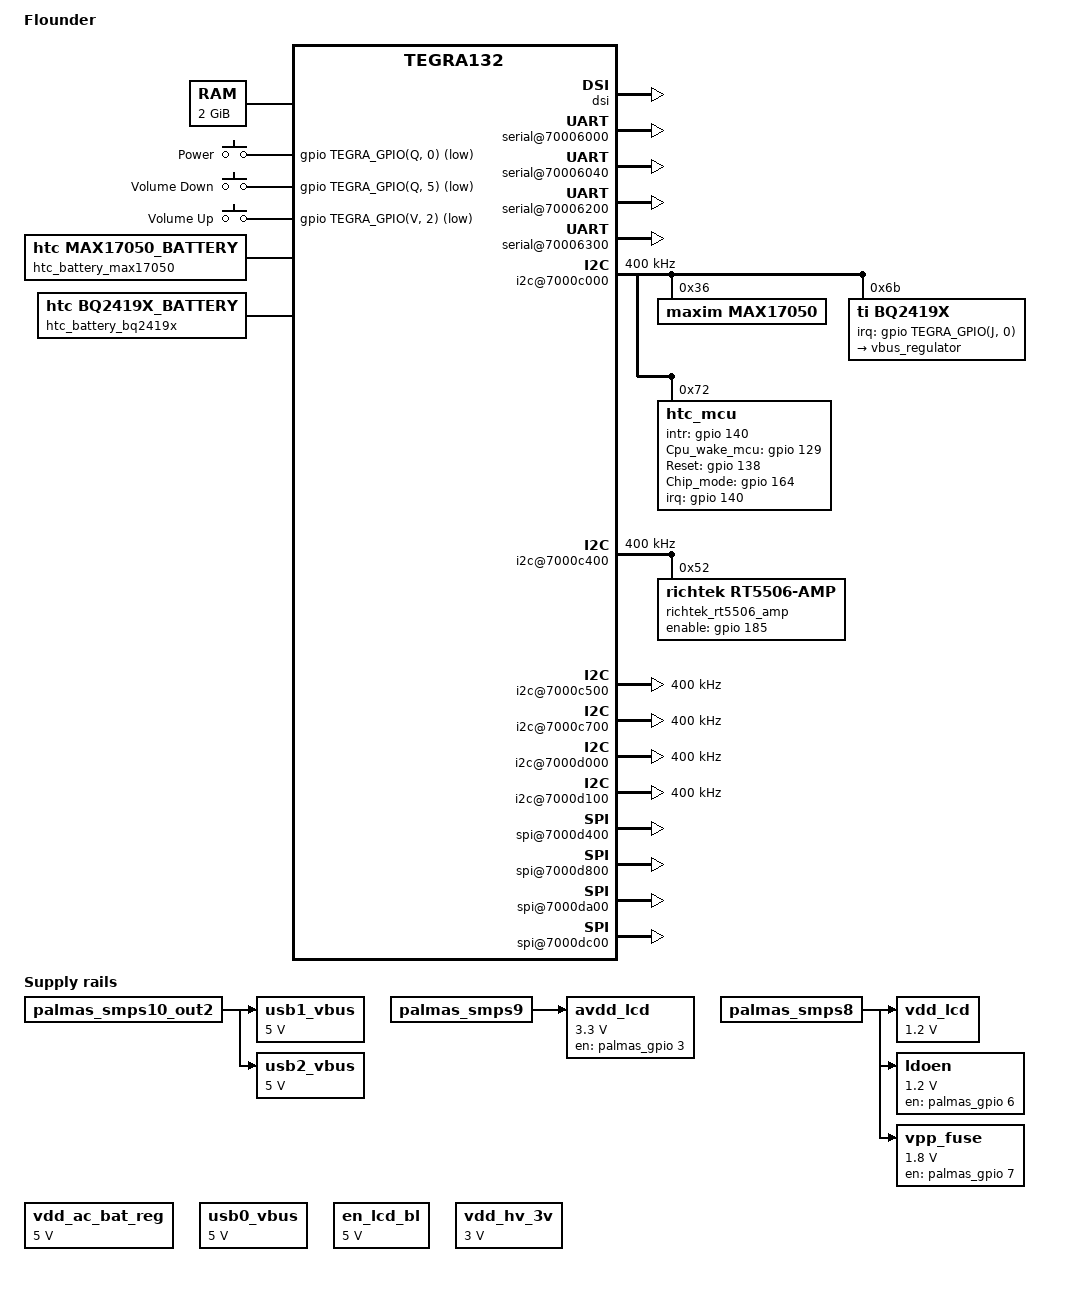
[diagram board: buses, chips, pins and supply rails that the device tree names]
#include <dt-bindings/gpio/tegra-gpio.h>
#include <dt-bindings/input/input.h>
#include <dt-bindings/interrupt-controller/arm-gic.h>

#include "tegra132.dtsi"
#include "tegra132-flounder-camera.dtsi"
#include "tegra132-flounder-trusty.dtsi"
#include "tegra132-flounder-sysedp.dtsi"
#include "tegra132-flounder-powermon.dtsi"
#include "tegra132-flounder-emc.dtsi"
#include "tegra132-tn8-dfll.dtsi"
#include "tegra132-flounder-touch.dtsi"

/ {
	model = "Flounder";

	nvidia-boardids = "1780:1100:2:B:7","1794:1000:0:A:6";
	#address-cells = <2>;
	#size-cells = <2>;

	chosen {
		bootargs = "tegraid=40.0.0.00.00 vmalloc=256M video=tegrafb console=ttyS0,115200n8 earlyprintk";
		linux,initrd-start = <0x85000000>;
		linux,initrd-end = <0x851bc400>;
	};

	pinmux {
		status = "disable";
	};

	gpio: gpio@6000d000 {
		gpio-init-names = "default";
		gpio-init-0 = <&gpio_default>;

		gpio_default: default {
			gpio-input = <  TEGRA_GPIO(C, 7)
					TEGRA_GPIO(A, 7)
					TEGRA_GPIO(G, 2)
					TEGRA_GPIO(G, 3)
					TEGRA_GPIO(I, 5)
					TEGRA_GPIO(I, 6)
					TEGRA_GPIO(J, 0)
					TEGRA_GPIO(K, 2)
					TEGRA_GPIO(K, 3)
					TEGRA_GPIO(N, 4)
					TEGRA_GPIO(O, 2)
					TEGRA_GPIO(O, 3)
					TEGRA_GPIO(O, 5)
					TEGRA_GPIO(O, 7)
					TEGRA_GPIO(Q, 1)
					TEGRA_GPIO(Q, 6)
					TEGRA_GPIO(Q, 7)
					TEGRA_GPIO(R, 4)
					TEGRA_GPIO(S, 0)
					TEGRA_GPIO(S, 1)
					TEGRA_GPIO(S, 4)
					TEGRA_GPIO(U, 5)
					TEGRA_GPIO(U, 6)
					TEGRA_GPIO(V, 0)
					TEGRA_GPIO(V, 1)
					TEGRA_GPIO(W, 2)
/*key*/
					TEGRA_GPIO(Q, 0)
					TEGRA_GPIO(Q, 5)
					TEGRA_GPIO(V, 2)
/*key*/
/*headset*/
					TEGRA_GPIO(S, 2)
					TEGRA_GPIO(W, 3)
/*headset*/
					TEGRA_GPIO(BB, 6)
					TEGRA_GPIO(CC, 1)
					TEGRA_GPIO(CC, 2)>;
			gpio-output-low = <TEGRA_GPIO(H, 2)
					TEGRA_GPIO(H, 3)
					TEGRA_GPIO(H, 6)
					TEGRA_GPIO(H, 7)
					TEGRA_GPIO(I, 0)
/*headset*/
					TEGRA_GPIO(J, 7)
					TEGRA_GPIO(S, 3)
/*headset*/
					TEGRA_GPIO(K, 0)
					TEGRA_GPIO(K, 1)
					TEGRA_GPIO(K, 5)
					TEGRA_GPIO(O, 0)
					TEGRA_GPIO(O, 6)
					TEGRA_GPIO(Q, 3)
					TEGRA_GPIO(R, 1)
					TEGRA_GPIO(R, 2)
					TEGRA_GPIO(R, 5)
					TEGRA_GPIO(S, 3)
					TEGRA_GPIO(S, 6)
					TEGRA_GPIO(U, 3)
					TEGRA_GPIO(V, 3)
					TEGRA_GPIO(X, 1)
					TEGRA_GPIO(X, 3)
					TEGRA_GPIO(X, 4)
					TEGRA_GPIO(X, 5)
					TEGRA_GPIO(X, 7)
					TEGRA_GPIO(BB, 3)
					TEGRA_GPIO(BB, 5)
					TEGRA_GPIO(BB, 7)
					TEGRA_GPIO(EE, 1)>;
			gpio-output-high = <TEGRA_GPIO(B, 4)
/*key*/
					TEGRA_GPIO(I, 3)
/*key*/
					TEGRA_GPIO(S, 5)
					TEGRA_GPIO(R, 0)
					TEGRA_GPIO(H, 5)
					TEGRA_GPIO(Q, 2)
/*headset*/
					TEGRA_GPIO(Q, 4)
/*headset*/
					>;
		};
	};

        host1x {
                dsi {
                        nvidia,dsi-controller-vs = <1>;
                        status = "okay";
                };

		hdmi {
			status = "disabled";
		};
	};

	serial@70006000 {
		compatible = "nvidia,tegra114-hsuart";
		status = "okay";
	};

	serial@70006040 {
		compatible = "nvidia,tegra114-hsuart";
		status = "okay";
	};

	serial@70006200 {
		compatible = "nvidia,tegra114-hsuart";
		status = "okay";
	};

	serial@70006300 {
		compatible = "nvidia,tegra114-hsuart";
		status = "okay";
	};

	memory@0x80000000 {
		device_type = "memory";
		reg = <0x0 0x80000000 0x0 0x80000000>;
	};

	i2c@7000c000 {
		status = "okay";
		clock-frequency = <400000>;

		max17050@36 {
			compatible = "maxim,max17050";
			reg = <0x36>;
			battery-id-channel-name = "batt-id-channel";
			param_adjust_map_by_id {
				id0 {
					id-number = <0>;
					id-range = <0 524>;
					temperature-normal-to-low-threshold = <(-50)>;
					temperature-low-to-normal-threshold = <(-30)>;
					temperature-normal-parameters = <0x964C 0x0068 0x0000>;
					temperature-low-parameters = <0xAF59 0x4D84 0x2484>;
				};
				id1 {
					id-number = <1>;
					id-range = <525 1343>;
					temperature-normal-to-low-threshold = <(-80)>;
					temperature-low-to-normal-threshold = <(-50)>;
					temperature-normal-parameters = <0x964C 0x1032 0x0000>;
					temperature-low-parameters = <0xAF59 0x5F86 0x2790>;
				};
			};
		};

		bq2419x: bq2419x@6b {
			compatible = "ti,bq2419x";
			reg = <0x6b>;

			interrupt-parent = <&gpio>;
			interrupts = <TEGRA_GPIO(J, 0) 0x0>;

			vbus {
				regulator-name = "vbus_regulator";
				consumers {
					c1 {
						regulator-consumer-supply = "usb_vbus";
						regulator-consumer-device = "tegra-ehci.0";
					};

					c2 {
						regulator-consumer-supply = "usb_vbus";
						regulator-consumer-device = "tegra-otg";
					};
				};
			};
		};

		htc_mcu@72 {
			compatible = "htc_mcu";
			reg = <0x72>;
			interrupt-parent = <&gpio>;
			interrupts = <140 0x0>;
			mcu,intr-gpio  = <&gpio 140 0>;
			mcu,gs_chip_layout = <1>;
			mcu,acceleration_axes = <7>;
			mcu,magnetic_axes = <7>;
			mcu,gyro_axes = <7>;
			mcu,Cpu_wake_mcu-gpio = <&gpio 129 0>;
			mcu,Reset-gpio = <&gpio 138 0>;
			mcu,Chip_mode-gpio = <&gpio 164 0>;
		};
	};

	i2c@7000c400 {
		status = "okay";
		clock-frequency = <400000>;

		richtek_rt5506_amp@52 {
			compatible = "richtek,rt5506-amp";
			reg = <0x52>;
			richtek,enable-gpio = <&gpio 185 0>;
		};
	};

	i2c@7000c500 {
		status = "okay";
		clock-frequency = <400000>;
	};

	i2c@7000c700 {
		status = "okay";
		clock-frequency = <400000>;
	};

	i2c@7000d000 {
		status = "okay";
		clock-frequency = <400000>;
		nvidia,bit-banging-xfer-after-shutdown;

	/include/ "tegra124-flounder-power.dtsi"
	};

	i2c@7000d100 {
		status = "okay";
		clock-frequency = <400000>;
	};

	spi@7000d400 {
		status = "okay";
		spi-max-frequency = <25000000>;
	};

	spi@7000d800 {
		status = "okay";
		spi-max-frequency = <25000000>;
	};

	spi@7000da00 {
		status = "okay";
		spi-max-frequency = <25000000>;
	};

	spi@7000dc00 {
		status = "okay";
		spi-max-frequency = <25000000>;
	};

	denver_cpuidle_pmic {
		type = <4>; /* TPS 65913 2.3*/
		retention-voltage = <11>;  /* Vret = 0.55v */
		lock = <0>;
	};

	gpio-keys {
		compatible = "gpio-keys";

		power {
			label = "Power";
			gpios = <&gpio TEGRA_GPIO(Q, 0) GPIO_ACTIVE_LOW>;
			linux,code = <KEY_POWER>;
			gpio-key,wakeup;
			debounce-interval = <20>;
		};

		volume_down {
			label = "Volume Down";
			gpios = <&gpio TEGRA_GPIO(Q, 5) GPIO_ACTIVE_LOW>;
			linux,code = <KEY_VOLUMEDOWN>;
			debounce-interval = <20>;
		};

		volume_up {
			label = "Volume Up";
			gpios = <&gpio TEGRA_GPIO(V, 2) GPIO_ACTIVE_LOW>;
			linux,code = <KEY_VOLUMEUP>;
			debounce-interval = <20>;
		};
	};

	regulators {
		compatible = "simple-bus";
		#address-cells = <1>;
		#size-cells = <0>;

		vdd_ac_bat_reg: regulator@0 {
			compatible = "regulator-fixed";
			reg = <0>;
			regulator-name = "vdd_ac_bat";
			regulator-min-microvolt = <5000000>;
			regulator-max-microvolt = <5000000>;
			regulator-always-on;

			consumers {
				c1 {
					regulator-consumer-supply = "vdd_sys_bl";
				};
			};
		};

		usb0_vbus: regulator@1 {
			compatible = "regulator-fixed-sync";
			reg = <1>;
			regulator-name = "usb0-vbus";
			regulator-min-microvolt = <5000000>;
			regulator-max-microvolt = <5000000>;
			enable-active-high;

			consumers {
				c1 {
					regulator-consumer-supply = "usb_vbus0";
					regulator-consumer-device = "tegra-xhci";
				};
			};
		};

		usb1_vbus: regulator@2 {
			compatible = "regulator-fixed-sync";
			reg = <2>;
			regulator-name = "usb1-vbus";
			regulator-min-microvolt = <5000000>;
			regulator-max-microvolt = <5000000>;
			enable-active-high;
			vin-supply = <&palmas_smps10_out2>;

			consumers {
				c1 {
					regulator-consumer-supply = "usb_vbus";
					regulator-consumer-device = "tegra-ehci.1";
				};
				c2 {
					regulator-consumer-supply = "usb_vbus1";
					regulator-consumer-device = "tegra-xhci";
				};
			};
		};

		usb2_vbus: regulator@3 {
			compatible = "regulator-fixed-sync";
			reg = <3>;
			regulator-name = "usb2-vbus";
			regulator-min-microvolt = <5000000>;
			regulator-max-microvolt = <5000000>;
			enable-active-high;
			vin-supply = <&palmas_smps10_out2>;

			consumers {
				c1 {
					regulator-consumer-supply = "usb_vbus";
					regulator-consumer-device = "tegra-ehci.2";
				};
				c2 {
					regulator-consumer-supply = "usb_vbus2";
					regulator-consumer-device = "tegra-xhci";
				};
			};
		};

		avdd_lcd: regulator@4 {
			compatible = "regulator-fixed-sync";
			reg = <4>;
			regulator-name = "avdd-lcd";
			regulator-min-microvolt = <3300000>;
			regulator-max-microvolt = <3300000>;
			gpio = <&palmas_gpio 3 0>;
			enable-active-high;
			vin-supply = <&palmas_smps9>;

			consumers {
				c1 {
					regulator-consumer-supply = "avdd_lcd";
				};
			};
		};

		vdd_lcd: regulator@5 {
			compatible = "regulator-fixed-sync";
			reg = <5>;
			regulator-name = "vdd-lcd";
			regulator-min-microvolt = <1200000>;
			regulator-max-microvolt = <1200000>;
			enable-active-high;
			vin-supply = <&palmas_smps8>;

			consumers {
				c1 {
					regulator-consumer-supply = "vdd_lcd_1v2_s";
				};
			};
		};

		ldoen: regulator@6 {
			compatible = "regulator-fixed-sync";
			reg = <6>;
			regulator-name = "ldoen";
			regulator-min-microvolt = <1200000>;
			regulator-max-microvolt = <1200000>;
			regulator-boot-on;
			enable-active-high;
			gpio = <&palmas_gpio 6 0>;
			vin-supply = <&palmas_smps8>;

			consumers {
				c1 {
					regulator-consumer-supply = "ldoen";
					regulator-consumer-device = "1-0052";
				};
			};
		};

		vpp_fuse: regulator@7 {
			compatible = "regulator-fixed-sync";
			reg = <7>;
			regulator-name = "vpp-fuse";
			regulator-min-microvolt = <1800000>;
			regulator-max-microvolt = <1800000>;
			enable-active-high;
			gpio = <&palmas_gpio 7 0>;
			vin-supply = <&palmas_smps8>;

			consumers {
				c1 {
					regulator-consumer-supply = "vpp_fuse";
				};
			};
		};

		en_lcd_bl: regulator@8 {
			compatible = "regulator-fixed-sync";
			reg = <8>;
			regulator-name = "en-lcd-bl";
			regulator-min-microvolt = <5000000>;
			regulator-max-microvolt = <5000000>;
			enable-active-high;

			consumers {
				c1 {
					regulator-consumer-supply = "vdd_lcd_bl_en";
				};
			};
		};
	};

	htc_battery_max17050 {
		compatible = "htc,max17050_battery";
	};

	htc_battery_bq2419x {
		compatible = "htc,bq2419x_battery";
		regulator-name = "batt_regulator";
		regulator-max-microamp = <1500000>;
		auto-recharge-time = <30>;
		input-voltage-limit-millivolt = <4440>;
		fast-charge-current-limit-milliamp = <2944>;
		pre-charge-current-limit-milliamp = <512>;
		charge-voltage-limit-millivolt = <4352>;
		charge-suspend-polling-time-sec = <3600>;
		temp-polling-time-sec = <30>;
		thermal-overtemp-control-no-thermister;
		thermal-temperature-hot-deciC = <551>;
		thermal-temperature-cold-deciC = <(-1)>;
		thermal-temperature-warm-deciC = <481>;
		thermal-temperature-cool-deciC = <100>;
		thermal-temperature-hysteresis-deciC = <30>;
		thermal-warm-voltage-millivolt = <4096>;
		thermal-cool-voltage-millivolt = <4352>;
		thermal-disable-warm-current-half;
		thermal-overtemp-output-current-milliamp = <1344>;
		unknown-battery-id-minimum = <1343>;
		battery-id-channel-name = "batt-id-channel";
		input-voltage-min-high-battery-millivolt = <4440>;
		input-voltage-min-low-battery-millivolt = <4200>;
		input-voltage-switch-millivolt = <4150>;
		gauge-power-supply-name = "battery";
		vbus-channel-name = "charger-vbus";
		vbus-channel-max-voltage-mv = <6875>;
		vbus-channel-max-adc = <4096>;
		consumers {
			c1 {
				regulator-consumer-supply = "usb_bat_chg";
				regulator-consumer-device = "tegra-udc.0";
			};
			c2 {
				regulator-consumer-supply = "usb_bat_chg";
				regulator-consumer-device = "tegra-otg";
			};
		};
	};

	vdd_hv_3v: fixedregulator@0 {
		compatible = "regulator-fixed";
		regulator-name = "vdd_hv_3v";
		regulator-min-microvolt = <3000000>;
		regulator-max-microvolt = <3000000>;
		regulator-boot-on;
		consumers {
			c1 {
				regulator-consumer-supply = "vdd";
				regulator-consumer-device = "0-004c";
			};
		};
	};

};
